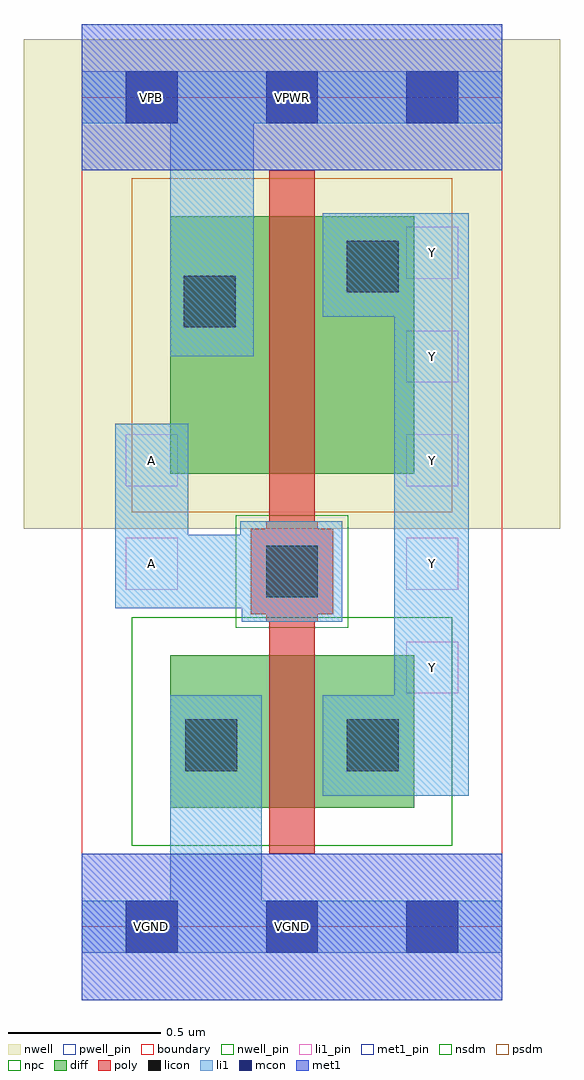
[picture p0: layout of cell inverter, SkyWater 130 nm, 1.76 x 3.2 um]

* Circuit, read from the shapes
.subckt inverter A VGND VNB VPB VPWR Y
XM1 Y A VGND VNB sky130_fd_pr__nfet_01v8 w=0.5 l=0.15
XM2 Y A VPWR VPB sky130_fd_pr__pfet_01v8 w=0.845 l=0.15
.ends

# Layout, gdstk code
import gdstk
lib = gdstk.Library(unit=1e-6, precision=1e-09)
def R(c, l, rs):  # rectangles x0, y0, x1, y1
    for r in rs: c.add(gdstk.rectangle(r[:2], r[2:], *l))
def A(c, l, x, y, w, h, nx, ny, dx, dy):  # array of equal rectangles
    R(c, l, [(x+i*dx, y+j*dy, x+i*dx+w, y+j*dy+h) for i in range(nx) for j in range(ny)])
nwell_pin = (64, 16)
nwell = (64, 20)
diff = (65, 20)
poly = (66, 20)
licon = (66, 44)
li1_pin = (67, 16)
li1 = (67, 20)
mcon = (67, 44)
met1_pin = (68, 16)
met1 = (68, 20)
nsdm = (93, 44)
psdm = (94, 20)
npc = (95, 20)
pwell_pin = (122, 16)
boundary = (235, 4)

inverter = lib.new_cell('inverter')
R(inverter, nwell_pin, [(0.145,2.635,0.315,2.805)])
R(inverter, nwell, [(-0.19,1.305,1.57,2.91)])
R(inverter, diff, [(0.29,0.39,1.09,0.89), (0.29,1.485,1.09,2.33)])
R(inverter, poly, [(0.615,0.24,0.765,1), (0.605,1,0.775,1.025), (0.555,1.025,0.825,1.305), (0.605,1.305,0.775,1.33), (0.615,1.33,0.765,2.48)])
R(inverter, licon, [(0.34,0.51,0.51,0.68), (0.87,0.51,1.04,0.68), (0.605,1.08,0.775,1.25), (0.335,1.965,0.505,2.135), (0.87,2.08,1.04,2.25)])
A(inverter, li1_pin, 1.065, 0.765, 0.17, 0.17, 1, 5, 0, 0.34)
R(inverter, li1_pin, [(0.145,1.105,0.315,1.275), (0.145,1.445,0.315,1.615)])
R(inverter, li1, [(0,-0.085,1.38,0.085), (0.29,0.085,0.59,0.76), (0.79,0.43,1.27,0.76), (1.025,0.76,1.27,2), (0.525,1,0.855,1.045), (0.11,1.045,0.855,1.285), (0.11,1.285,0.35,1.65), (0.52,1.285,0.855,1.33), (0.29,1.87,0.565,2.635), (0.79,2,1.27,2.34), (0,2.635,1.38,2.805)])
A(inverter, mcon, 0.145, -0.085, 0.17, 0.17, 3, 2, 0.46, 2.72)
R(inverter, met1_pin, [(0,-0.24,1.38,0.24), (0.145,-0.085,0.315,0.085), (0,2.48,1.38,2.96), (0.145,2.635,0.315,2.805)])
R(inverter, met1, [(0,-0.24,1.38,0.24), (0,2.48,1.38,2.96)])
R(inverter, nsdm, [(0.165,0.265,1.215,1.015)])
R(inverter, psdm, [(0.165,1.36,1.215,2.455)])
R(inverter, npc, [(0.505,0.98,0.875,1.35)])
R(inverter, pwell_pin, [(0.145,-0.085,0.315,0.085)])
R(inverter, boundary, [(0,0,1.38,2.72)])
inverter.add(gdstk.Label('VGND', (0.69,0), layer=68, texttype=5))
inverter.add(gdstk.Label('VGND', (0.23,0), layer=68, texttype=5))
inverter.add(gdstk.Label('VNB', (0.23,0), layer=64, texttype=59))
inverter.add(gdstk.Label('VPB', (0.23,2.72), layer=64, texttype=5))
inverter.add(gdstk.Label('VPWR', (0.69,2.72), layer=68, texttype=5))
inverter.add(gdstk.Label('VPWR', (0.23,2.72), layer=68, texttype=5))
inverter.add(gdstk.Label('Y', (1.15,2.21), layer=67, texttype=5))
inverter.add(gdstk.Label('Y', (1.15,1.87), layer=67, texttype=5))
inverter.add(gdstk.Label('Y', (1.15,1.53), layer=67, texttype=5))
inverter.add(gdstk.Label('Y', (1.15,0.85), layer=67, texttype=5))
inverter.add(gdstk.Label('Y', (1.15,1.19), layer=67, texttype=5))
inverter.add(gdstk.Label('A', (0.23,1.53), layer=67, texttype=5))
inverter.add(gdstk.Label('A', (0.23,1.19), layer=67, texttype=5))

lib.write_gds('inverter.gds')
